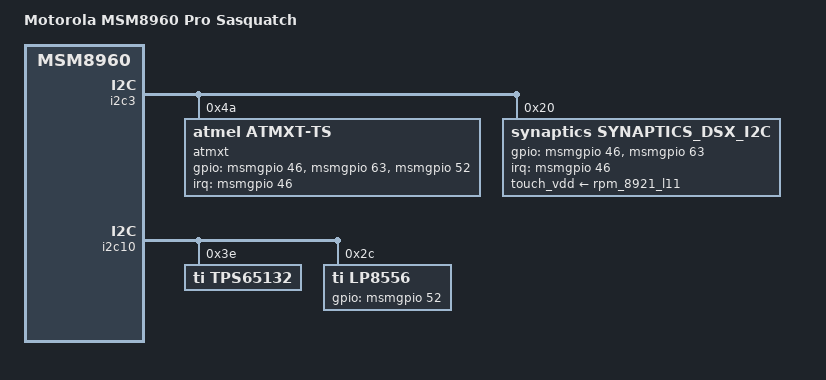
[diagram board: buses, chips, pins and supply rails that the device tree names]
/include/ "msm8960ab-motref.dtsi"

/ {
	model = "Motorola MSM8960 Pro Sasquatch";
	compatible = "mmi,msm8960";

	mmi,product = "mmi,msm8960ab-sasquatch";

	mmi,dt_revision = <2>;

	System@0 {
		Display@0 {
			/* Name of display driver */
			panel_name = "mipi_mot_cmd_smd_qhd_429";
			disp_intf = <4>;  /* MIPI_VP_CM */

			rst_gpio_1 = <37>;
			rst_gpio_type_1 = <1>; /* PM_GPIO */
			rst_init_state_1 = <1>;
			rst_en_state_1 = <1>;
			rst_en_pre_delay_1 = <25>;
			rst_en_post_delay_1 = <20>;
			rst_dis_post_delay_1 = <10>;

			num_disp_reg = <3>;

			reg_id_1 = "dsi_s4";
			reg_name_1 = "DISP_VDDIO";
			reg_min_mv_1 = <1800000>;
			reg_max_mv_1 = <1800000>;
			reg_gpio_en_1 = <12>;
			reg_gpio_name_1 = "DISP_V2_EN";
			reg_gpio_en_type_1 = <0>;  /* MSM_GPIO */
			reg_gpio_en_init_state_1 = <1>;
			reg_gpio_en_state_1 = <1>;

			reg_id_2 = "disp_vci";
			reg_name_2 = "DISP_VCI";
			reg_max_mv_2 = <3100000>;
			reg_min_mv_2 = <3100000>;
			reg_shared_gpio_en_2 = <1>;

			reg_id_3 = "";
			reg_name_3 = "V_3P80_DISP";
			reg_gpio_en_3 = <13>;
			reg_gpio_name_3 = "DISP_V1_EN";
			reg_gpio_en_type_3 = <0>;  /* MSM_GPIO */
			reg_gpio_en_init_state_3 = <1>;
			reg_gpio_en_state_3 = <1>;

			mipi_d0_sel_gpio_1 = <10>;
			mipi_d0_sel_name_1 = "mipi_d0_sel";
			mipi_d0_sel_gpio_type_1 = <1>;  /* PM_GPIO */
			mipi_d0_sel_init_state_1 = <0>;
			mipi_d0_sel_en_state_1 = <0>;
			mipi_d0_sel_en_pre_delay_1 = <0>;
			mipi_d0_sel_en_post_delay_1 = <0>;
			mipi_d0_sel_dis_pre_delay_1 = <0>;
			mipi_d0_sel_dis_post_delay_1 = <0>;

			partial_mode_supported = <1>;
		};

		Display@1 {
			panel_name = "mipi_mot_cmd_smd_hd_465";
			disp_intf = <4>;  /* MIPI_VP_CM */

			rst_gpio_1 = <37>;
			rst_gpio_type_1 = <1>;  /* PM_GPIO */
			rst_init_state_1 = <1>;
			rst_en_state_1 = <1>;
			rst_en_pre_delay_1 = <15>;
			rst_en_post_delay_1 = <15>;
			rst_dis_post_delay_1 = <10>;

			num_disp_reg = <3>;

			reg_id_1 = "";
			reg_name_1 = "VBATT_DISP_CONN";
			reg_gpio_en_1 = <13>;
			reg_gpio_name_1 = "DISP_V1_EN";
			reg_gpio_en_init_state_1 = <1>;
			reg_gpio_en_state_1 = <1>;
			reg_gpio_en_type_1 = <0>;
			reg_gpio_en_delay_1 = <1>;

                        /* Display's VDDIO reg */
                        reg_id_2 = "dsi_s4";
                        reg_name_2 = "VDD_DISP_CONN";
                        reg_min_mv_2 = <1800000>;
                        reg_max_mv_2 = <1800000>;
                        reg_gpio_en_2 = <12>;
                        reg_gpio_name_2 = "DISP_V2_EN";
                        reg_gpio_en_type_2 = <0>;   /* MSM_GPIO */
                        reg_gpio_en_init_state_2 = <1>;
                        reg_gpio_en_state_2 = <1>;

                        /* Display's VCI reg */
                        reg_id_3 = "disp_vci";
                        reg_name_3 = "VCI_DISP_CONN";
                        reg_min_mv_3 = <3100000>;
                        reg_max_mv_3 = <3100000>;
                        reg_gpio_en_3 = <90>;
                        reg_gpio_name_3 = "DISP_V3_EN";
                        reg_gpio_en_type_3 = <0>;   /* MSM_GPIO */
                        reg_gpio_en_init_state_3 = <1>;
                        reg_gpio_en_state_3 = <1>;


			mipi_d0_sel_gpio_1 = <10>;
			mipi_d0_sel_name_1 = "mipi_d0_sel";
			mipi_d0_sel_gpio_type_1 = <1>; /* PM_GPIO */
			mipi_d0_sel_init_state_1 = <0>;
			mipi_d0_sel_en_state_1 = <0>;
			mipi_d0_sel_en_pre_delay_1 = <0>;
			mipi_d0_sel_en_post_delay_1 = <0>;
			mipi_d0_sel_dis_pre_delay_1 = <0>;
			mipi_d0_sel_dis_post_delay_1 = <0>;

			partial_mode_supported = <1>;
		};

		Display@2 {
			/* Name of display driver */
			panel_name = "mipi_mot_cmd_jdi_hd_430";
			disp_intf = <4>;  /* MIPI_VP_CM */

			/* Display reset lines */
			rst_gpio_1 = <37>;
			rst_gpio_type_1 = <1>; /* PM_GPIO */
			rst_init_state_1 = <0>;
			rst_en_state_1 = <1>;
			rst_en_pre_delay_1 = <10>;
			rst_en_post_delay_1 = <10>;
			rst_dis_post_delay_1 = <10>;

			/* Display's regulators and regulator gpio en  */
			num_disp_reg = <4>;

			reg_id_1 = "disp_vci";
			reg_name_1 = "TOUCH_VDD";
			reg_min_mv_1 = <3100000>;
			reg_max_mv_1 = <3100000>;
			reg_delay_1 = <5>;

			/* Display's VDDIO reg */
			reg_id_2 = "dsi_s4";
			reg_name_2 = "DISP_VDDIO";
			reg_min_mv_2 = <1800000>;
			reg_max_mv_2 = <1800000>;
			reg_gpio_en_2 = <12>;
			reg_gpio_name_2 = "DISP_V2_EN";
			reg_gpio_en_type_2 = <0>; /* MSM_GPIO */
			reg_gpio_en_init_state_2 = <1>;
			reg_gpio_en_state_2 = <1>;
			reg_gpio_en_delay_2 = <0>;
			reg_gpio_dis_delay_2 =<0>; /* min 5ms */

			reg_id_3 = "";
			reg_name_3 = "DISP_VSP";
			reg_gpio_en_3 = <13>;
			reg_gpio_name_3 = "DISP_V1_EN";
			reg_gpio_en_type_3 = <0>; /* MSM_GPIO */
			reg_gpio_en_init_state_3 = <1> ;
			reg_gpio_en_state_3 = <1>;
			reg_gpio_en_delay_3 = <3>;
			reg_gpio_dis_delay_3 = <0>;

			reg_id_4 = "";
			reg_name_4 = "DISP_VSN" ;
			reg_gpio_en_4 = <90>;
			reg_gpio_name_4 = "DISP_V3_EN" ;
			reg_gpio_en_type_4 = <0>; /* MSM_GPIO */
			reg_gpio_init_state_4 = <1>;
			reg_gpio_en_state_4 = <1>;
			reg_gpio_en_delay_4 = <0>;
			reg_gpio_dis_delay_4 = <2>;
		};

		Display@3 {
			/* Name of display driver  */
			panel_name = "mipi_mot_cmd_smd_hd_497";
			disp_intf = <4>;  /* MIPI_VP_CM */

			/* Display reset lines */
			rst_gpio_1 = <37>;
			rst_gpio_type_1 = <1>; /* PM_GPIO */
			rst_init_state_1 = <1>;
			rst_en_state_1 = <1>;
			rst_en_pre_delay_1 = <15>;
			rst_en_post_delay_1 = <15>;
			rst_dis_post_delay_1 = <10>;

			/* Display's regulators and regulator gpio en  */
			num_disp_reg = <3>;

			reg_id_1 = "";
			reg_name_1 = "VBATT_DISP_CONN";
			reg_gpio_en_1 = <13>;
			reg_gpio_name_1 = "DISP_V1_EN";
			reg_gpio_en_type_1 = <0>; /* MSM_GPIO */
			reg_gpio_en_init_state_1 = <1>;
			reg_gpio_en_state_1 = <1>;
			reg_gpio_en_delay_1 = <1>;

			/* Display's VDDIO reg */
			reg_id_2 = "dsi_s4";
			reg_name_2 = "VDD_DISP_CONN";
			reg_min_mv_2 = <1800000>;
			reg_max_mv_2 = <1800000>;
			reg_gpio_en_2 = <12>;
			reg_gpio_name_2 = "DISP_V2_EN";
			reg_gpio_en_type_2 = <0>;  /* MSM_GPIO */
			reg_gpio_en_init_state_2 = <1>;
			reg_gpio_en_state_2 = <1>;

			/* Display's VCI reg which shared same gpio_en as VDDIO */
			reg_id_3 = "disp_vci";
			reg_name_3 = "VCI_DISP_CONN";
			reg_min_mv_3 = <3100000>;
			reg_max_mv_3 = <3100000>;
			reg_gpio_en_3 = <90>;
			reg_gpio_name_3 = "DISP_V3_EN";
			reg_gpio_en_type_3 = <0>; /* MSM_GPIO */
			reg_gpio_en_init_state_3 = <1>;
			reg_gpio_en_state_3 = <1>;

			mipi_d0_sel_gpio_1 = <10>;
			mipi_d0_sel_name_1 = "mipi_d0_sel";
			mipi_d0_sel_gpio_type_1 = <1>;  /* PM_GPIO */
			mipi_d0_sel_init_state_1 = <0>;
			mipi_d0_sel_en_state_1 = <0>;
			mipi_d0_sel_en_pre_delay_1 = <0>;
			mipi_d0_sel_en_post_delay_1 = <0>;
			mipi_d0_sel_dis_pre_delay_1 = <0>;
			mipi_d0_sel_dis_post_delay_1 = <0>;

			partial_mode_supported = <1>;
			prevent_pwr_off = <1>;
		};
	};

	qcom,sdcc@3 {
		status = "okay";
	};
};

&i2c3 {
	atmxt@4a {
		compatible = "atmel,atmxt-ts";
		reg = <0x4a>;
		interrupt-parent = <&msmgpio>;
		interrupts = <46 0>;
		gpios = <&msmgpio 46 0>, /* IRQ */
		        <&msmgpio 63 0>, /* RESET */
		        <&msmgpio 52 0>; /* ENABLE */

		atmel,atmxt-tdat-filename = "atmxt-r2.tdat";
	};

	synaptics_dsx_i2c@20 {
		compatible = "synaptics,synaptics_dsx_i2c";
		reg = <0x20>;
		interrupt-parent = <&msmgpio>;
		interrupts = <46 0>;
		gpios = <&msmgpio 46 0>, /* IRQ */
			<&msmgpio 63 0>; /* RESET */
		touch_vdd-supply = <&rpm_8921_l11>;

		synaptics,purge-enabled;
		synaptics,reset-on-resume;
	};
};

&i2c10 {
	tps65132@3e {
		compatible = "ti,tps65132";
		reg = <0x3e>;
	};

	lp8556@2c {
		compatible = "ti,lp8556";
		reg = <0x2c>;
		gpios = <&msmgpio 52 0>;  /* enable GPIO */

		ti,lp8556-initial-brightness = <0x3a>;
		ti,lp8556-dev-ctrl-config = <0x84>;
		ti,lp8556-eeprom-settings = <0x9e 0x02
					     0xa5 0x3c
					     0xa6 0x40
					     0xa7 0xfc>;
	};
};

